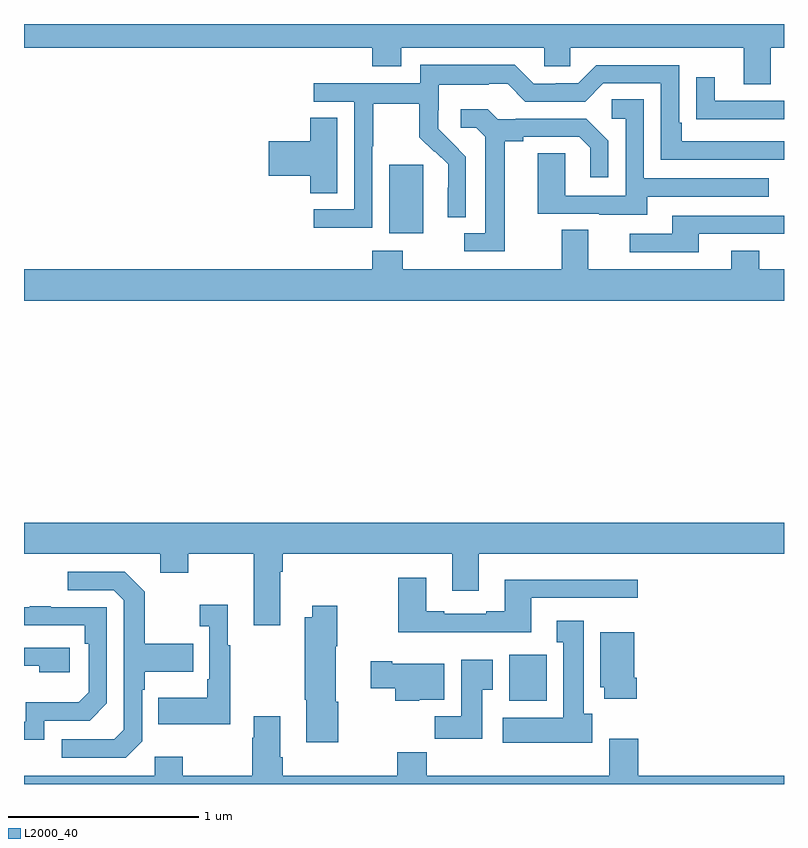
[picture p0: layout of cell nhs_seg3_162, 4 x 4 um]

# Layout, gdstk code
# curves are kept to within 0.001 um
import gdstk
lib = gdstk.Library(unit=1e-6, precision=1e-09)
def R(c, l, rs):  # rectangles x0, y0, x1, y1
    for r in rs: c.add(gdstk.rectangle(r[:2], r[2:], *l))
def P(c, l, *ps):  # polygons
    for p in ps: c.add(gdstk.Polygon(p, *l))
L2000_40 = (2000, 40)

nhs_seg3_162 = lib.new_cell('nhs_seg3_162')
R(nhs_seg3_162, L2000_40, [(121.553,670.838,121.75,671.08), (120.923,673.298,121.102,673.659)])
P(nhs_seg3_162, L2000_40, [(122.929,674.276),(123,674.276),(123,674.4),(119,674.4),(119,674.276),(120.833,674.276),(120.833,674.177),(120.985,674.177),(120.985,674.276),(121.737,674.276),(121.737,674.178),(121.875,674.178),(121.875,674.276),(122.789,674.276),(122.789,674.082),(122.929,674.082)],
  [(120.834,673.756),(120.837,673.756),(120.837,673.98),(121.081,673.98),(121.081,673.805),(121.158,673.728),(121.161,673.731),(121.232,673.661),(121.232,673.538),(121.23,673.538),(121.23,673.384),(121.326,673.384),(121.326,673.702),(121.18,673.85),(121.18,673.947),(121.182,673.947),(121.182,674.081),(121.445,674.081),(121.445,674.085),(121.545,674.085),(121.638,673.992),(121.953,673.992),(122.049,674.088),(122.352,674.088),(122.352,673.686),(123,673.686),(123,673.782),(122.461,673.782),(122.461,673.879),(122.448,673.879),(122.448,674.184),(122.013,674.184),(121.917,674.088),(121.799,674.088),(121.799,674.085),(121.683,674.085),(121.583,674.185),(121.086,674.185),(121.086,674.088),(120.525,674.088),(120.525,673.992),(120.738,673.992),(120.738,673.425),(120.525,673.425),(120.525,673.327),(120.834,673.327)],
  [(123,673.995),(122.635,673.995),(122.635,674.119),(122.539,674.119),(122.539,673.9),(122.641,673.9),(122.641,673.899),(123,673.899)],
  [(122.281,673.491),(122.921,673.491),(122.921,673.587),(122.262,673.587),(122.262,674.003),(122.094,674.003),(122.094,673.902),(122.166,673.902),(122.166,673.497),(121.848,673.497),(121.848,673.721),(121.703,673.721),(121.703,673.401),(122.027,673.401),(122.027,673.397),(122.281,673.397)],
  [(121.531,673.784),(121.627,673.784),(121.627,673.806),(121.922,673.806),(121.979,673.749),(121.979,673.593),(122.076,673.593),(122.076,673.786),(121.96,673.902),(121.588,673.902),(121.588,673.899),(121.494,673.899),(121.442,673.951),(121.299,673.951),(121.299,673.854),(121.38,673.854),(121.427,673.807),(121.427,673.299),(121.317,673.299),(121.317,673.203),(121.531,673.203)],
  [(120.649,673.907),(120.506,673.907),(120.506,673.784),(120.288,673.784),(120.288,673.601),(120.506,673.601),(120.506,673.51),(120.649,673.51)],
  [(122.551,673.296),(123,673.296),(123,673.392),(122.411,673.392),(122.411,673.296),(122.187,673.296),(122.187,673.2),(122.551,673.2)],
  [(123,673.108),(122.871,673.108),(122.871,673.207),(122.723,673.207),(122.723,673.108),(121.969,673.108),(121.969,673.316),(121.829,673.316),(121.829,673.108),(120.993,673.108),(120.993,673.207),(120.833,673.207),(120.833,673.108),(119,673.108),(119,672.944),(123,672.944)],
  [(120.349,671.516),(120.362,671.516),(120.362,671.612),(121.253,671.612),(121.253,671.418),(121.393,671.418),(121.393,671.612),(123,671.612),(123,671.776),(119,671.776),(119,671.612),(119.717,671.612),(119.717,671.513),(119.865,671.513),(119.865,671.612),(120.209,671.612),(120.209,671.235),(120.349,671.235)],
  [(119.622,670.626),(119.622,670.895),(119.635,670.895),(119.635,670.991),(119.891,670.991),(119.891,671.139),(119.635,671.139),(119.635,671.411),(119.529,671.517),(119.229,671.517),(119.229,671.421),(119.472,671.421),(119.526,671.367),(119.526,670.686),(119.475,670.635),(119.199,670.635),(119.199,670.539),(119.535,670.539)],
  [(121.669,671.379),(122.23,671.379),(122.23,671.476),(121.529,671.476),(121.529,671.308),(121.433,671.308),(121.433,671.295),(121.213,671.295),(121.213,671.308),(121.117,671.308),(121.117,671.485),(120.97,671.485),(120.97,671.198),(121.669,671.198)],
  [(120.085,671.131),(120.073,671.131),(120.073,671.344),(119.925,671.344),(119.925,671.231),(119.976,671.231),(119.976,670.951),(119.964,670.951),(119.964,670.855),(119.707,670.855),(119.707,670.715),(120.085,670.715)],
  [(120.653,670.832),(120.64,670.832),(120.64,671.125),(120.648,671.125),(120.648,671.338),(120.518,671.338),(120.518,671.278),(120.478,671.278),(120.478,670.843),(120.485,670.843),(120.485,670.62),(120.653,670.62)],
  [(119.106,670.734),(119.346,670.734),(119.436,670.824),(119.436,671.331),(119.141,671.331),(119.141,671.336),(119.029,671.336),(119.029,671.331),(119,671.331),(119,671.235),(119.32,671.235),(119.32,671.138),(119.34,671.138),(119.34,670.884),(119.287,670.831),(119.01,670.831),(119.01,670.728),(119,670.728),(119,670.632),(119.106,670.632)],
  [(121.99,670.77),(121.945,670.77),(121.945,671.26),(121.805,671.26),(121.805,671.147),(121.838,671.147),(121.838,670.75),(121.521,670.75),(121.521,670.616),(121.99,670.616)],
  [(122.225,670.96),(122.212,670.96),(122.212,671.2),(122.033,671.2),(122.033,670.908),(122.054,670.908),(122.054,670.848),(122.225,670.848)],
  [(119.242,671.118),(119,671.118),(119,671.022),(119.081,671.022),(119.081,670.988),(119.242,670.988)],
  [(121.411,670.897),(121.468,670.897),(121.468,671.053),(121.301,671.053),(121.301,670.756),(121.162,670.756),(121.162,670.638),(121.411,670.638)],
  [(121.08,670.844),(121.213,670.844),(121.213,671.032),(120.937,671.032),(120.937,671.045),(120.825,671.045),(120.825,670.903),(120.955,670.903),(120.955,670.838),(121.08,670.838)],
  [(123,670.444),(122.234,670.444),(122.234,670.639),(122.081,670.639),(122.081,670.444),(121.121,670.444),(121.121,670.568),(120.965,670.568),(120.965,670.444),(120.362,670.444),(120.362,670.54),(120.349,670.54),(120.349,670.756),(120.209,670.756),(120.209,670.643),(120.202,670.643),(120.202,670.444),(119.835,670.444),(119.835,670.543),(119.688,670.543),(119.688,670.444),(119,670.444),(119,670.4),(123,670.4)])

lib.write_gds('nhs_seg3_162.gds')
